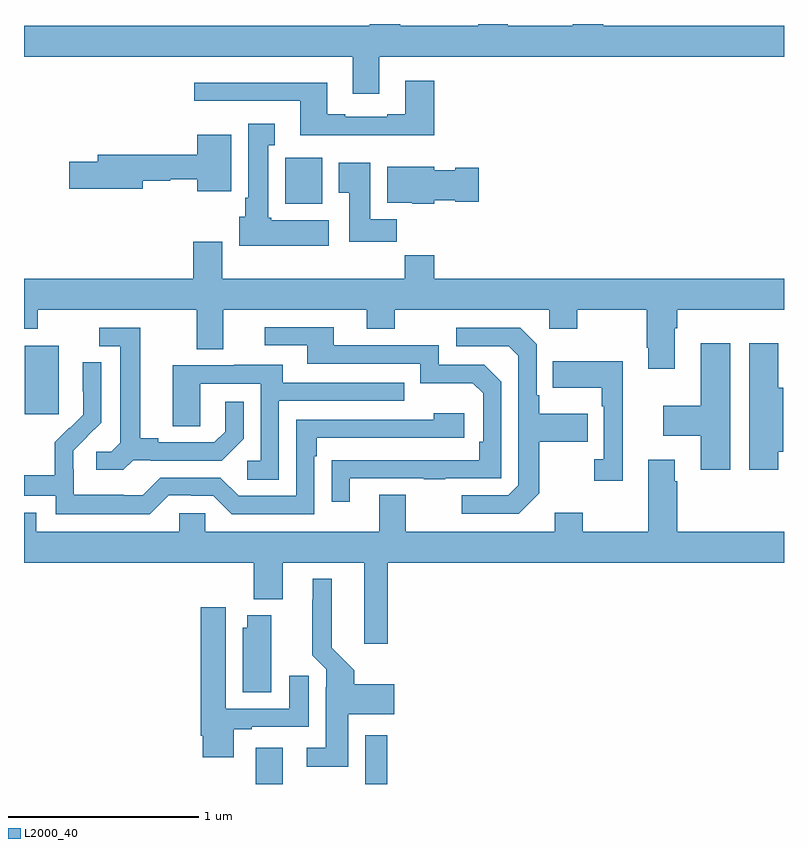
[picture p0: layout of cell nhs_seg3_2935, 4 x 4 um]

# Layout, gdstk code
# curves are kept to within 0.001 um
import gdstk
lib = gdstk.Library(unit=1e-6, precision=1e-09)
def R(c, l, rs):  # rectangles x0, y0, x1, y1
    for r in rs: c.add(gdstk.rectangle(r[:2], r[2:], *l))
def P(c, l, *ps):  # polygons
    for p in ps: c.add(gdstk.Polygon(p, *l))
L2000_40 = (2000, 40)

nhs_seg3_2935 = lib.new_cell('nhs_seg3_2935')
R(nhs_seg3_2935, L2000_40, [(264.221,718.4,264.361,718.591), (264.795,718.4,264.911,718.657), (263.003,720.345,263.182,720.706), (264.374,721.454,264.571,721.696)])
P(nhs_seg3_2935, L2000_40, [(264.871,722.228),(267,722.228),(267,722.392),(266.048,722.392),(266.048,722.4),(265.888,722.4),(265.888,722.392),(265.545,722.392),(265.545,722.4),(265.39,722.4),(265.39,722.392),(264.981,722.392),(264.981,722.4),(264.821,722.4),(264.821,722.392),(263,722.392),(263,722.228),(264.731,722.228),(264.731,722.034),(264.871,722.034)],
  [(265.16,722.101),(265.007,722.101),(265.007,721.924),(264.911,721.924),(264.911,721.911),(264.691,721.911),(264.691,721.924),(264.595,721.924),(264.595,722.092),(263.895,722.092),(263.895,721.995),(264.455,721.995),(264.455,721.814),(265.16,721.814)],
  [(264.604,721.366),(264.3,721.366),(264.3,721.38),(264.286,721.38),(264.286,721.763),(264.319,721.763),(264.319,721.876),(264.179,721.876),(264.179,721.486),(264.164,721.486),(264.164,721.386),(264.134,721.386),(264.134,721.232),(264.604,721.232)],
  [(264.091,721.816),(263.912,721.816),(263.912,721.712),(263.387,721.712),(263.387,721.676),(263.238,721.676),(263.238,721.534),(263.626,721.534),(263.626,721.576),(263.769,721.576),(263.769,721.584),(263.912,721.584),(263.912,721.52),(264.091,721.52)],
  [(264.962,721.372),(264.823,721.372),(264.823,721.669),(264.656,721.669),(264.656,721.513),(264.713,721.513),(264.713,721.254),(264.962,721.254)],
  [(265.158,721.472),(265.269,721.472),(265.269,721.465),(265.393,721.465),(265.393,721.643),(265.269,721.643),(265.269,721.63),(265.158,721.63),(265.158,721.648),(264.911,721.648),(264.911,721.46),(265.044,721.46),(265.044,721.454),(265.158,721.454)],
  [(266.425,720.8),(266.438,720.8),(266.438,720.896),(267,720.896),(267,721.06),(265.16,721.06),(265.16,721.184),(265.003,721.184),(265.003,721.06),(264.043,721.06),(264.043,721.255),(263.891,721.255),(263.891,721.06),(263,721.06),(263,720.797),(263.073,720.797),(263.073,720.896),(263.909,720.896),(263.909,720.688),(264.049,720.688),(264.049,720.896),(264.803,720.896),(264.803,720.797),(264.951,720.797),(264.951,720.896),(265.764,720.896),(265.764,720.797),(265.911,720.797),(265.911,720.896),(266.278,720.896),(266.278,720.697),(266.285,720.697),(266.285,720.585),(266.425,720.585)],
  [(264.715,720.009),(265.105,720.009),(265.105,720.004),(265.217,720.004),(265.217,720.009),(265.512,720.009),(265.512,720.516),(265.422,720.606),(265.182,720.606),(265.182,720.708),(264.631,720.708),(264.631,720.804),(264.267,720.804),(264.267,720.708),(264.491,720.708),(264.491,720.612),(265.086,720.612),(265.086,720.509),(265.363,720.509),(265.416,720.456),(265.416,720.202),(265.396,720.202),(265.396,720.105),(264.619,720.104),(264.619,719.886),(264.715,719.886)],
  [(263.574,720.105),(263.668,720.105),(263.668,720.102),(264.04,720.102),(264.156,720.218),(264.156,720.412),(264.059,720.412),(264.059,720.255),(264.002,720.198),(263.707,720.198),(263.707,720.221),(263.611,720.221),(263.611,720.801),(263.397,720.801),(263.397,720.705),(263.507,720.705),(263.507,720.197),(263.46,720.15),(263.379,720.15),(263.379,720.053),(263.522,720.053)],
  [(265.711,719.929),(265.711,720.202),(265.967,720.202),(265.967,720.349),(265.711,720.349),(265.711,720.445),(265.698,720.445),(265.698,720.714),(265.611,720.801),(265.275,720.801),(265.275,720.705),(265.551,720.705),(265.602,720.654),(265.602,719.973),(265.548,719.919),(265.305,719.919),(265.305,719.823),(265.605,719.823)],
  [(266.716,720.721),(266.561,720.721),(266.561,720.391),(266.364,720.391),(266.364,720.233),(266.561,720.233),(266.561,720.054),(266.716,720.054)],
  [(266.971,720.15),(266.995,720.15),(266.995,720.486),(266.971,720.486),(266.971,720.721),(266.816,720.721),(266.816,720.054),(266.971,720.054)],
  [(266.15,720.625),(265.783,720.625),(265.783,720.485),(266.04,720.485),(266.04,720.389),(266.052,720.389),(266.052,720.11),(266.001,720.11),(266.001,719.997),(266.15,719.997)],
  [(263.763,719.919),(263.879,719.919),(263.879,719.916),(263.997,719.916),(264.093,719.82),(264.528,719.82),(264.528,720.125),(264.541,720.125),(264.541,720.222),(265.318,720.222),(265.318,720.352),(265.157,720.352),(265.157,720.318),(264.432,720.318),(264.432,719.916),(264.129,719.916),(264.033,720.012),(263.718,720.012),(263.625,719.919),(263.525,719.919),(263.525,719.923),(263.262,719.923),(263.262,720.057),(263.26,720.057),(263.26,720.154),(263.406,720.302),(263.406,720.62),(263.31,720.62),(263.31,720.466),(263.312,720.466),(263.312,720.344),(263.241,720.273),(263.238,720.276),(263.161,720.199),(263.161,720.025),(263,720.025),(263,719.916),(263.166,719.916),(263.166,719.819),(263.663,719.819)],
  [(264.342,720.417),(265.001,720.417),(265.001,720.513),(264.361,720.513),(264.361,720.607),(264.107,720.607),(264.107,720.603),(263.783,720.603),(263.783,720.283),(263.928,720.283),(263.928,720.507),(264.246,720.507),(264.246,720.102),(264.174,720.102),(264.174,720.001),(264.342,720.001)],
  [(264.914,719.564),(267,719.564),(267,719.728),(266.438,719.728),(266.438,719.993),(266.425,719.993),(266.425,720.106),(266.285,720.106),(266.285,719.728),(265.941,719.728),(265.941,719.827),(265.793,719.827),(265.793,719.728),(265.009,719.728),(265.009,719.923),(264.869,719.923),(264.869,719.728),(263.955,719.728),(263.955,719.826),(263.817,719.826),(263.817,719.728),(263.065,719.728),(263.065,719.827),(263,719.827),(263,719.564),(264.209,719.564),(264.209,719.372),(264.361,719.372),(264.361,719.564),(264.791,719.564),(264.791,719.139),(264.914,719.139)],
  [(264.706,718.766),(264.949,718.766),(264.949,718.924),(264.737,718.924),(264.737,718.998),(264.619,719.116),(264.619,719.479),(264.521,719.479),(264.521,719.369),(264.517,719.369),(264.517,719.078),(264.591,719.004),(264.591,718.91),(264.587,718.91),(264.587,718.591),(264.489,718.591),(264.489,718.49),(264.706,718.49)],
  [(264.103,718.689),(264.199,718.689),(264.199,718.701),(264.499,718.701),(264.499,718.969),(264.395,718.969),(264.395,718.797),(264.061,718.797),(264.061,719.329),(263.93,719.329),(263.93,718.654),(263.942,718.654),(263.942,718.542),(264.103,718.542)],
  [(264.301,719.287),(264.176,719.287),(264.176,719.223),(264.152,719.223),(264.152,718.882),(264.301,718.882)])

lib.write_gds('nhs_seg3_2935.gds')
